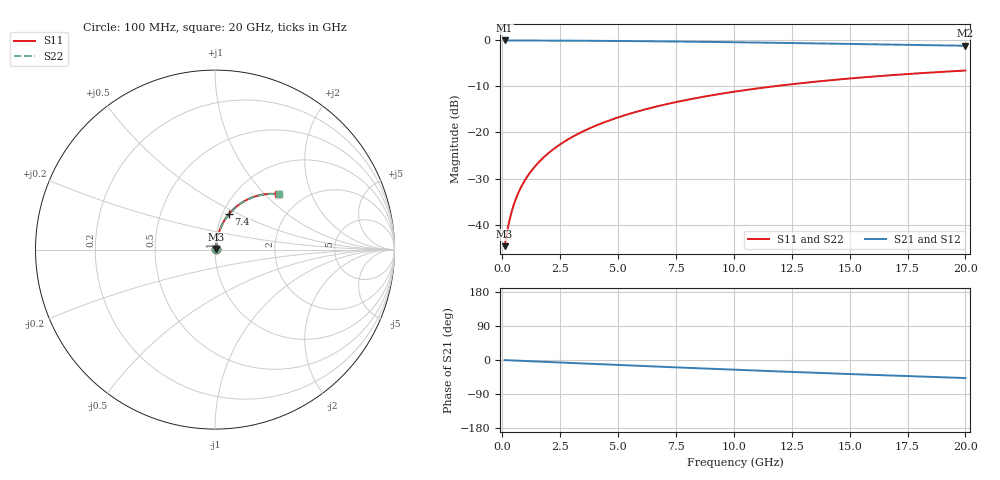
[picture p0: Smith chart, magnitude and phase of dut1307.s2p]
! Touchstone file exported from HFSS 2026.1.0
!  File:  C:/ffzhzh/LocalFiles/Ansys_Project_Files/temp_train_TMRDL_1307_1783164780_22436.aedt
!  Generated:  07:34:19 PM Jul  4, 2026
!  Design:  TMRDL
!  Project:  temp_train_TMRDL_1307_1783164780_22436
! Variables:
!  h_bsmrdl = 2um
!  h_ox = 20um
!  h_rdl = 5um
!  h_sub = 80um
!  h_tmrdl = 2.28um
!  h_tsv = 80um
!  h_via = 3um
!  l_bsmrdl = 300um
!  l_sub = 1063.75um
!  l_tmrdl = 663.75um
!  m_sub = 200um
!  pitch = 56.02um
!  r_tsv = 6um
!  s_tmrdl = 10um
!  w_bsmrdl = 18um
!  w_sub = 500um
!  w_tmrdl = 22.41um
!  x_tsv_center1 = 674.955um
!  x_tsv_center2 = 992.955um
!  x_tsv_center3 = 1679.115um
!  x_tsv_center4 = 1997.115um
!  x_tsv_center5 = 2683.275um
!  x_tsv_center6 = 3001.275um
# GHz S MA R 50.000000
! Terminal data exported
! Port[1] = TM_RDL1_1_T1
! Port[2] = TM_RDL1_1_T2
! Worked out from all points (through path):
!   200 points, 100 MHz to 20 GHz, reference 50 ohm
!   highest |S21| = -0.04 dB at 100 MHz (marker M1); lowest = -1.2 dB at 20 GHz (marker M2)
!   group delay of S21, straight-line fit = 6.63 ps
!   lowest |S11| = -44.7 dB at 100 MHz (marker M3), VSWR 1.01, Z = 50.5 + j0.323 ohm
!   |S11| at or under -10 dB: start of sweep to 11.72 GHz
!   |S22| runs from -44.7 to -6.6 dB; largest |S21 - S12| = 3.6e-15
!   S11 on the Smith chart (normalised r, x): 100 MHz: 1.01, +0.01; 7.4 GHz: 1.07, +0.44; 20 GHz: 1.52, +1.20
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0.1  0.005836 33.3  0.9951 -0.3  0.9951 -0.3  0.005836 33.3
! Gamma 0 0 0 0
! Port Impedance 50 0 50 0
0.2  0.008118 51.6  0.995 -0.6  0.995 -0.6  0.008118 51.6
0.3  0.01084 60.9  0.9948 -0.8  0.9948 -0.8  0.01084 60.9
0.4  0.01368 66.0  0.9946 -1.1  0.9946 -1.1  0.01368 66.0
0.5  0.01655 69.3  0.9944 -1.4  0.9944 -1.4  0.01655 69.3
0.6  0.01943 71.5  0.9942 -1.6  0.9942 -1.6  0.01943 71.5
0.8  0.02517 74.3  0.9938 -2.2  0.9938 -2.2  0.02517 74.3
1.1  0.03379 76.6  0.9933 -2.9  0.9933 -2.9  0.03379 76.6
1.3  0.03956 77.5  0.993 -3.5  0.993 -3.5  0.03956 77.5
1.6  0.04822 78.2  0.9925 -4.3  0.9925 -4.3  0.04823 78.2
2.1  0.0627 78.5  0.9916 -5.6  0.9916 -5.6  0.06271 78.5
2.7  0.08007 78.1  0.9902 -7.1  0.9902 -7.1  0.08007 78.1
3.5  0.1031 77.0  0.9879 -9.2  0.9879 -9.2  0.1031 77.0
4.2  0.123 75.8  0.9855 -11.0  0.9855 -11.0  0.1231 75.7
5  0.1456 74.1  0.9822 -13.1  0.9822 -13.1  0.1456 74.1
6.8  0.1948 70.1  0.9732 -17.7  0.9732 -17.7  0.1948 70.0
7.4  0.2107 68.7  0.9697 -19.2  0.9697 -19.2  0.2107 68.6
8.7  0.2442 65.7  0.9615 -22.4  0.9615 -22.4  0.2442 65.6
10.1  0.2787 62.5  0.9517 -25.8  0.9517 -25.8  0.2787 62.3
13.4  0.3526 55.0  0.9261 -33.5  0.9261 -33.5  0.3527 54.8
16.7  0.4162 47.9  0.8988 -40.8  0.8988 -40.8  0.4162 47.7
20  0.4695 41.2  0.872 -47.6  0.872 -47.6  0.4695 41.0
